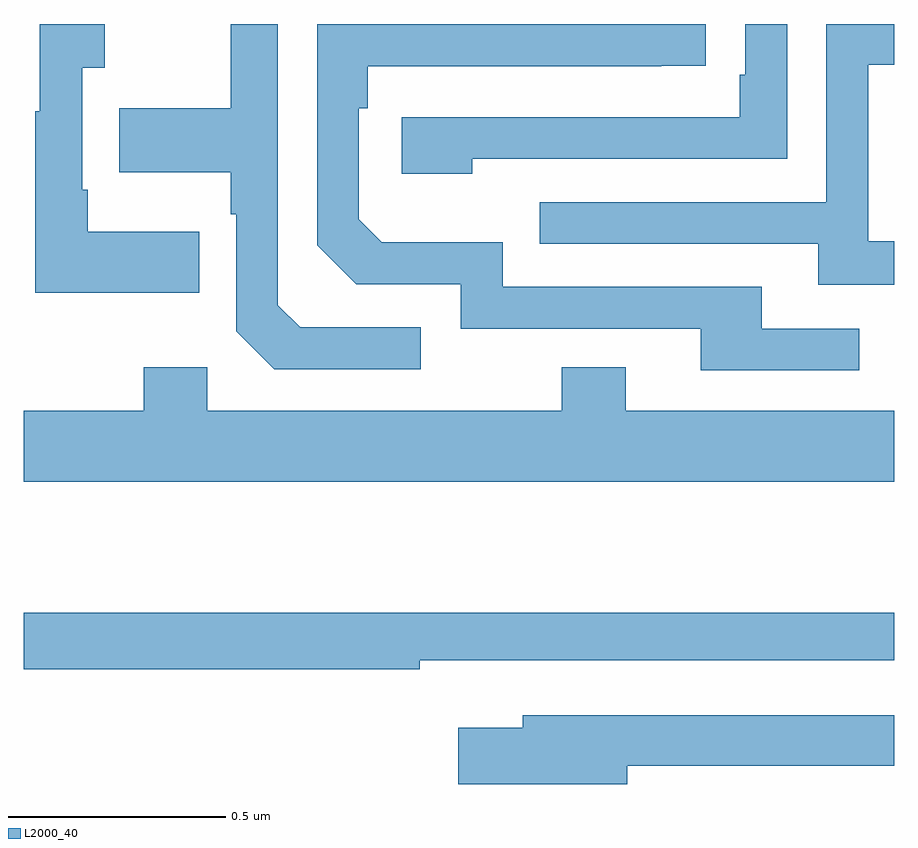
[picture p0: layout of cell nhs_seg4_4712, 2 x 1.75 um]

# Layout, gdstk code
import gdstk
lib = gdstk.Library(unit=1e-6, precision=1e-09)
def P(c, l, *ps):  # polygons
    for p in ps: c.add(gdstk.Polygon(p, *l))
L2000_40 = (2000, 40)

nhs_seg4_4712 = lib.new_cell('nhs_seg4_4712')
P(nhs_seg4_4712, L2000_40, [(169.403,769.423),(169.147,769.423),(169.147,769.519),(169.134,769.519),(169.134,769.799),(169.186,769.799),(169.186,769.9),(169.037,769.9),(169.037,769.699),(169.026,769.699),(169.026,769.283),(169.403,769.283)],
  [(171,769.401),(170.94,769.401),(170.94,769.806),(171,769.806),(171,769.9),(170.844,769.9),(170.844,769.491),(170.185,769.491),(170.185,769.395),(170.825,769.395),(170.825,769.301),(171,769.301)],
  [(169.912,769.203),(169.635,769.203),(169.584,769.254),(169.584,769.9),(169.476,769.9),(169.476,769.707),(169.219,769.707),(169.219,769.559),(169.476,769.559),(169.476,769.463),(169.488,769.463),(169.488,769.194),(169.575,769.107),(169.912,769.107)],
  [(170.03,769.59),(170.754,769.59),(170.754,769.9),(170.658,769.9),(170.658,769.783),(170.645,769.783),(170.645,769.686),(169.869,769.686),(169.869,769.556),(170.03,769.556)],
  [(170.92,769.2),(170.695,769.2),(170.695,769.296),(170.1,769.296),(170.1,769.399),(169.823,769.399),(169.77,769.452),(169.77,769.706),(169.79,769.706),(169.79,769.803),(170.465,769.803),(170.465,769.804),(170.567,769.804),(170.567,769.9),(170.471,769.9),(170.471,769.899),(170.081,769.899),(170.081,769.9),(169.969,769.9),(169.969,769.899),(169.674,769.899),(169.674,769.392),(169.764,769.302),(170.004,769.302),(170.004,769.2),(170.555,769.2),(170.555,769.104),(170.92,769.104)],
  [(171,769.012),(170.383,769.012),(170.383,769.111),(170.236,769.111),(170.236,769.012),(169.422,769.012),(169.422,769.111),(169.276,769.111),(169.276,769.012),(169,769.012),(169,768.848),(171,768.848)],
  [(169.91,768.438),(171,768.438),(171,768.547),(169,768.547),(169,768.418),(169.91,768.418)],
  [(170.386,768.196),(171,768.196),(171,768.312),(170.147,768.312),(170.147,768.283),(169.998,768.283),(169.998,768.154),(170.386,768.154)])

lib.write_gds('nhs_seg4_4712.gds')
